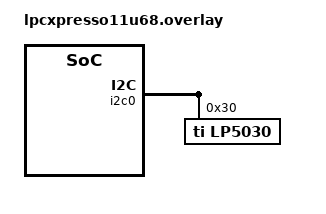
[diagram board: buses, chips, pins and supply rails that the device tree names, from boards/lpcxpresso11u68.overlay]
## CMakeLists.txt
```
# SPDX-License-Identifier: Apache-2.0

cmake_minimum_required(VERSION 3.13.1)

find_package(Zephyr HINTS $ENV{ZEPHYR_BASE})
project(led_lp503x)

FILE(GLOB app_sources src/*.c)
target_sources(app PRIVATE ${app_sources})
```

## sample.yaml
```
sample:
  description: Demonstration of the LP503x LED driver
  name: LP503x sample
tests:
  sample.drivers.led.lp503x:
    filter: dt_compat_enabled("ti,lp503x")
    tags: LED
    depends_on: i2c
```

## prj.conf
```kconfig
CONFIG_LOG=y

CONFIG_I2C=y

CONFIG_LED=y
CONFIG_LP503X=y
```

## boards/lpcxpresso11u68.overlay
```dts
/*
 * Copyright (c) 2020 Seagate Technology LLC
 *
 * SPDX-License-Identifier: Apache-2.0
 */

#include <dt-bindings/led/led.h>

&i2c0 {
	/* TI LP5030 LED controller connected to I2C0. */
	lp5030@30 {
		compatible = "ti,lp5030", "ti,lp503x";
		reg = <0x30>;
		label = "LP5030";

		led_0 {
			label = "LED LP5030 0";
			index = <0>;
			color-mapping =
				<LED_COLOR_ID_RED>,
				<LED_COLOR_ID_GREEN>,
				<LED_COLOR_ID_BLUE>;
		};
		led_1 {
			label = "LED LP5030 1";
			index = <1>;
			color-mapping =
				<LED_COLOR_ID_RED>,
				<LED_COLOR_ID_GREEN>,
				<LED_COLOR_ID_BLUE>;
		};
		led_2 {
			label = "LED LP5030 2";
			index = <2>;
			color-mapping =
				<LED_COLOR_ID_RED>,
				<LED_COLOR_ID_GREEN>,
				<LED_COLOR_ID_BLUE>;
		};
		led_3 {
			label = "LED LP5030 3";
			index = <3>;
			color-mapping =
				<LED_COLOR_ID_RED>,
				<LED_COLOR_ID_GREEN>,
				<LED_COLOR_ID_BLUE>;
		};
		led_4 {
			label = "LED LP5030 4";
			index = <4>;
			color-mapping =
				<LED_COLOR_ID_RED>,
				<LED_COLOR_ID_GREEN>,
				<LED_COLOR_ID_BLUE>;
		};
		led_5 {
			label = "LED LP5030 5";
			index = <5>;
			color-mapping =
				<LED_COLOR_ID_RED>,
				<LED_COLOR_ID_GREEN>,
				<LED_COLOR_ID_BLUE>;
		};
		led_6 {
			label = "LED LP5030 6";
			index = <6>;
			color-mapping =
				<LED_COLOR_ID_RED>,
				<LED_COLOR_ID_GREEN>,
				<LED_COLOR_ID_BLUE>;
		};
		led_7 {
			label = "LED LP5030 7";
			index = <7>;
			color-mapping =
				<LED_COLOR_ID_RED>,
				<LED_COLOR_ID_GREEN>,
				<LED_COLOR_ID_BLUE>;
		};
		led_8 {
			label = "LED LP5030 8";
			index = <8>;
			color-mapping =
				<LED_COLOR_ID_RED>,
				<LED_COLOR_ID_GREEN>,
				<LED_COLOR_ID_BLUE>;
		};
		led_9 {
			label = "LED LP5030 9";
			index = <9>;
			color-mapping =
				<LED_COLOR_ID_RED>,
				<LED_COLOR_ID_GREEN>,
				<LED_COLOR_ID_BLUE>;
		};
	};
};
```

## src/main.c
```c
/*
 * Copyright (c) 2020 Seagate Technology LLC
 *
 * SPDX-License-Identifier: Apache-2.0
 */

#include <device.h>
#include <errno.h>
#include <drivers/led.h>
#include <drivers/led/lp503x.h>
#include <sys/util.h>
#include <zephyr.h>

#define LOG_LEVEL CONFIG_LOG_DEFAULT_LEVEL
#include <logging/log.h>
LOG_MODULE_REGISTER(main);

#define LP503X_DEV_NAME	DT_LABEL(DT_INST(0, ti_lp503x))

#define MAX_BRIGHTNESS	100

#define SLEEP_DELAY_MS	1000
#define FADE_DELAY_MS	10

#define FADE_DELAY	K_MSEC(FADE_DELAY_MS)
#define SLEEP_DELAY	K_MSEC(SLEEP_DELAY_MS)

/*
 * The following colors are shown in the given order.
 */
static uint8_t colors[][3] = {
	{ 0xFF, 0x00, 0x00 }, /* Red    */
	{ 0x00, 0xFF, 0x00 }, /* Green  */
	{ 0x00, 0x00, 0xFF }, /* Blue   */
	{ 0xFF, 0xFF, 0xFF }, /* White  */
	{ 0xFF, 0xFF, 0x00 }, /* Yellow */
	{ 0xFF, 0x00, 0xFF }, /* Purple */
	{ 0x00, 0xFF, 0xFF }, /* Cyan   */
	{ 0xF4, 0x79, 0x20 }, /* Orange */
};

/**
 * @brief Run tests on a single LED using the LED-based API syscalls.
 *
 * @param lp503x_dev LP503X LED controller device.
 * @param led Number of the LED to test.
 */
static int run_led_test(const struct device *lp503x_dev, uint8_t led)
{
	uint8_t idx;
	int err;

	LOG_INF("Testing LED %d (LED API)", led);

	for (idx = 0; idx < ARRAY_SIZE(colors); idx++) {
		uint16_t level;

		/* Update LED color. */
		err = led_set_color(lp503x_dev, led, 3, colors[idx]);
		if (err < 0) {
			LOG_ERR("Failed to set LED %d color to "
				"%02x:%02x:%02x, err=%d", led,
				colors[idx][0], colors[idx][1],
				colors[idx][2], err);
			return err;
		}
		k_sleep(SLEEP_DELAY);

		/* Turn LED on. */
		err = led_on(lp503x_dev, led);
		if (err < 0) {
			LOG_ERR("Failed to turn LED %d on, err=%d", led, err);
			return err;
		}
		k_sleep(SLEEP_DELAY);

		/* Turn LED off. */
		err = led_off(lp503x_dev, led);
		if (err < 0) {
			LOG_ERR("Failed to turn LED %d off, err=%d", led, err);
			return err;
		}
		k_sleep(SLEEP_DELAY);

		/* Set LED brightness gradually to the maximum level. */
		for (level = 0; level <= MAX_BRIGHTNESS; level++) {
			err = led_set_brightness(lp503x_dev, led, level);
			if (err < 0) {
				LOG_ERR("Failed to set LED %d brightness to %d"
					", err=%d\n", led, level, err);
				return err;
			}
			k_sleep(FADE_DELAY);
		}
		k_sleep(SLEEP_DELAY);

		/* Turn LED off. */
		err = led_off(lp503x_dev, led);
		if (err < 0) {
			LOG_ERR("Failed to turn LED %d off, err=%d", led, err);
			return err;
		}
		k_sleep(SLEEP_DELAY);
	}

	return 0;
}

/**
 * @brief Run tests on a all the LEDs using the channel-based API syscalls.
 *
 * @param lp503x_dev LP503X LED controller device.
 */
static int run_channel_test(const struct device *lp503x_dev)
{
	uint8_t idx;
	uint8_t buffer[LP503X_COLORS_PER_LED * LP503X_MAX_LEDS];
	int err;

	LOG_INF("Testing alls LEDs (channel API)");

	for (idx = 0; idx < ARRAY_SIZE(colors); idx++) {
		uint8_t led;
		uint16_t level;

		/* Update LEDs colors. */
		for (led = 0; led < LP503X_MAX_LEDS; led++) {
			uint8_t *col = &buffer[led * 3];

			col[0] = colors[idx][0];
			col[1] = colors[idx][1];
			col[2] = colors[idx][2];
		}
		err = led_write_channels(lp503x_dev, LP503X_LED_COL1_CHAN(0),
					 LP503X_COLORS_PER_LED *
					 LP503X_MAX_LEDS,
					 buffer);
		if (err < 0) {
			LOG_ERR("Failed to write channels, start=%d num=%d"
				" err=%d\n", LP503X_LED_COL1_CHAN(0),
				LP503X_COLORS_PER_LED * LP503X_MAX_LEDS, err);
			return err;
		}
		k_sleep(SLEEP_DELAY);

		/* Turn LEDs on. */
		for (led = 0; led < LP503X_MAX_LEDS; led++) {
			buffer[led] = MAX_BRIGHTNESS;
		}
		err = led_write_channels(lp503x_dev,
					 LP503X_LED_BRIGHT_CHAN(0),
					 LP503X_MAX_LEDS, buffer);
		if (err < 0) {
			LOG_ERR("Failed to write channels, start=%d num=%d"
				" err=%d\n", LP503X_LED_BRIGHT_CHAN(0),
				LP503X_MAX_LEDS, err);
			return err;
		}
		k_sleep(SLEEP_DELAY);

		/* Turn LEDs off. */
		for (led = 0; led < LP503X_MAX_LEDS; led++) {
			buffer[led] = 0;
		}
		err = led_write_channels(lp503x_dev,
					 LP503X_LED_BRIGHT_CHAN(0),
					 LP503X_MAX_LEDS, buffer);
		if (err < 0) {
			LOG_ERR("Failed to write channels, start=%d num=%d"
				" err=%d\n", LP503X_LED_BRIGHT_CHAN(0),
				LP503X_MAX_LEDS, err);
			return err;
		}
		k_sleep(SLEEP_DELAY);

		/* Set LEDs brightnesses gradually to the maximum level. */
		for (level = 0; level <= MAX_BRIGHTNESS; level++) {
			for (led = 0; led < LP503X_MAX_LEDS; led++) {
				buffer[led] = level;
			}
			err = led_write_channels(lp503x_dev,
					LP503X_LED_BRIGHT_CHAN(0),
					LP503X_MAX_LEDS, buffer);
			if (err < 0) {
				LOG_ERR("Failed to write channels, start=%d"
					" num=%d err=%d\n",
					LP503X_LED_BRIGHT_CHAN(0),
					LP503X_MAX_LEDS, err);
				return err;
			}
			k_sleep(FADE_DELAY);
		}
		k_sleep(SLEEP_DELAY);

		/* Turn LED off. */
		for (led = 0; led < LP503X_MAX_LEDS; led++) {
			buffer[led] = 0;
		}
		err = led_write_channels(lp503x_dev,
					 LP503X_LED_BRIGHT_CHAN(0),
					 LP503X_MAX_LEDS, buffer);
		if (err < 0) {
			LOG_ERR("Failed to write channels, start=%d "
				"num=%d err=%d\n", LP503X_LED_BRIGHT_CHAN(0),
				LP503X_MAX_LEDS, err);
			return err;
		}
		k_sleep(SLEEP_DELAY);
	}

	return 0;
}

void main(void)
{
	const struct device *lp503x_dev;
	int err;
	uint8_t led;
	uint8_t num_leds = 0;

	lp503x_dev = device_get_binding(LP503X_DEV_NAME);
	if (lp503x_dev) {
		LOG_INF("Found LED controller %s", LP503X_DEV_NAME);
	} else {
		LOG_ERR("LED controller %s not found", LP503X_DEV_NAME);
		return;
	}

	for (led = 0; led < LP503X_MAX_LEDS; led++) {
		int col;
		const struct led_info *info;

		err = led_get_info(lp503x_dev, led, &info);
		if (err < 0) {
			LOG_DBG("Failed to get information for LED %d (err=%d)",
				led, err);
			break;
		}

		/* Display LED information. */
		printk("Found LED %d", led);
		if (info->label)
			printk(" - %s", info->label);
		printk(" - index:%d", info->index);
		printk(" - %d colors", info->num_colors);
		if (!info->color_mapping) {
			continue;
		}
		printk(" - %d", info->color_mapping[0]);
		for (col = 1; col < info->num_colors; col++)
			printk(":%d", info->color_mapping[col]);
		printk("\n");
	}
	num_leds = led;
	if (!num_leds) {
		LOG_ERR("No LEDs found");
		return;
	}

	do {
		err = run_channel_test(lp503x_dev);
		if (err) {
			return;
		}
		for (led = 0; led < num_leds; led++) {
			err = run_led_test(lp503x_dev, led);
			if (err) {
				return;
			}
		}
	} while (true);
}
```
